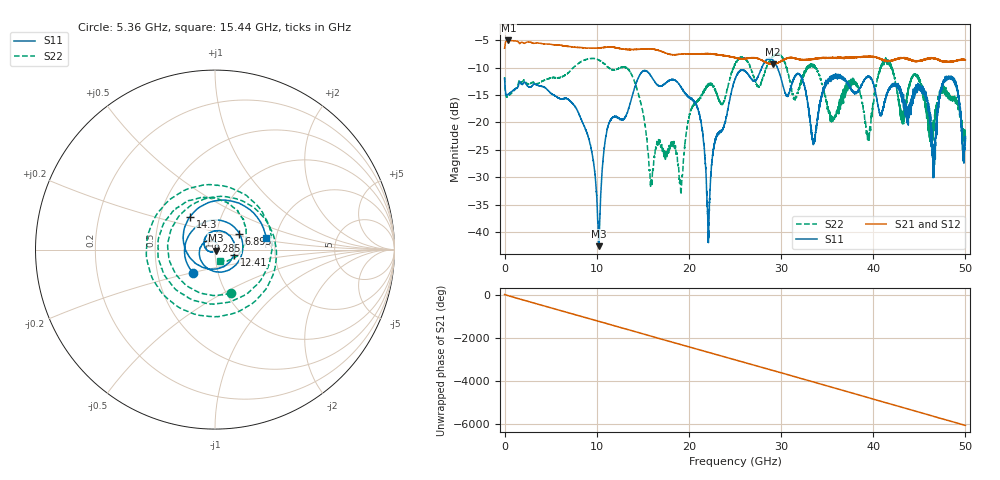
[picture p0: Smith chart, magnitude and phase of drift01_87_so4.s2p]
!Created with skrf (http://scikit-rf.org).
# Hz S RI R 50.0
!freq ReS11 ImS11 ReS21 ImS21 ReS12 ImS12 ReS22 ImS22
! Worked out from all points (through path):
!   10001 points, 300 kHz to 50 GHz, reference 50 ohm
!   highest |S21| = -5.06 dB at 410.3 MHz (marker M1); lowest = -9.4 dB at 29.12 GHz (marker M2)
!   group delay of S21, straight-line fit = 336 ps
!   lowest |S11| = -42.6 dB at 10.22 GHz (marker M3), VSWR 1.01, Z = 50.5 - j0.538 ohm
!   |S11| at or under -10 dB: start of sweep to 27.9 GHz; 29.59242 GHz to 29.59939 GHz (6.972 MHz wide, 0.0236 % of centre); 29.6 GHz to end of sweep
!   |S22| runs from -32.9 to -7.5 dB; largest |S21 - S12| = 0.013
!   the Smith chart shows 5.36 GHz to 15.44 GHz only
!   S11 on the Smith chart (normalised r, x): 5.36 GHz: 0.76, -0.20; 6.895 GHz: 1.29, +0.24; 9.285 GHz: 0.92, +0.09; 12.41 GHz: 1.23, -0.07; 14.3 GHz: 0.71, +0.28; 15.44 GHz: 1.78, +0.25
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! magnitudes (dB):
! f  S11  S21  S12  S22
! 300 kHz  -12.0  -6.5  -6.6  -11.7
! 410.3 MHz  -14.9  -5.1  -5.1  -15.1
! 5.36 GHz  -15.0  -5.8  -5.9  -11.8
! 6.895 GHz  -15.8  -6.1  -6.1  -11.0
! 8.335 GHz  -19.5  -6.4  -6.4  -8.9
! 9.285 GHz  -24.0  -6.5  -6.5  -8.4
! 10.22 GHz  -42.6  -6.4  -6.4  -8.6
! 12.41 GHz  -19.2  -6.5  -6.5  -10.1
! 14.3 GHz  -12.8  -6.7  -6.7  -13.5
! 15.44 GHz  -10.7  -6.6  -6.6  -23.1
! 16.67 GHz  -13.3  -6.9  -6.9  -23.3
! 19.14 GHz  -13.5  -7.6  -7.6  -32.9
! 20.86 GHz  -17.0  -7.5  -7.5  -16.2
! 22.12 GHz  -42.0  -7.5  -7.5  -13.3
! 25 GHz  -12.1  -8.2  -8.2  -9.4
! 29.12 GHz  -8.7  -9.4  -9.4  -7.9
! 33.34 GHz  -22.5  -8.5  -8.5  -9.6
! 39.47 GHz  -11.7  -8.0  -7.9  -22.0
! 41.67 GHz  -13.9  -8.8  -8.7  -9.1
! 46.55 GHz  -28.0  -8.3  -8.3  -19.9
! 48.55 GHz  -11.8  -8.9  -8.9  -15.7
! 50 GHz  -23.3  -8.6  -8.7  -23.0
